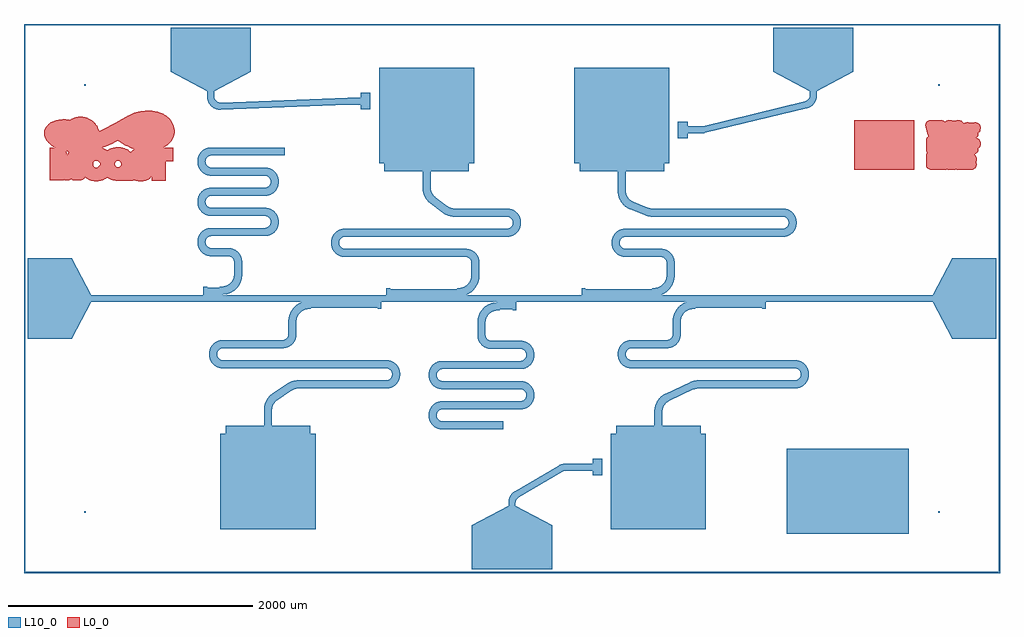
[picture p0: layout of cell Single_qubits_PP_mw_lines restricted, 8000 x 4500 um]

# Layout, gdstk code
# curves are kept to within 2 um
import gdstk
lib = gdstk.Library(unit=1e-6, precision=1e-09)
def R(c, l, rs):  # rectangles x0, y0, x1, y1
    for r in rs: c.add(gdstk.rectangle(r[:2], r[2:], *l))
def P(c, l, *ps):  # polygons
    for p in ps: c.add(gdstk.Polygon(p, *l))
L0_0 = (0, 0)
L10_0 = (10, 0)

single_qubits_pp_mw_line = lib.new_cell('Single_qubits_PP_mw_lines restricted')
P(single_qubits_pp_mw_line, L0_0, [(7296.49,3304.21),(7296.49,3712.95),(6804.87,3712.95),(6804.87,3508.594),(6969.874,3508.594),(6969.875,3508.574),(6969.876,3508.514),(6969.874,3508.594),(6804.87,3508.594),(6804.87,3304.21)],
  [(7393.974,3550.074),(7393.974,3466.113),(7405.074,3444.593),(7393.974,3423.073),(7393.554,3344.273),(7396.274,3329.973),(7410.934,3311.973),(7433.254,3304.693),(7519.374,3306.773),(7542.714,3304.093),(7566.174,3309.153),(7589.394,3304.433),(7627.894,3304.673),(7641.814,3308.213),(7658.274,3304.593),(7685.314,3305.724),(7685.314,3705.034),(7663.674,3711.814),(7644.114,3711.254),(7630.334,3705.614),(7611.494,3706.034),(7597.254,3711.394),(7572.134,3711.254),(7558.554,3705.494),(7547.014,3694.174),(7537.074,3705.034),(7518.834,3711.534),(7489.894,3709.574),(7427.294,3711.814),(7412.354,3708.454),(7395.134,3693.754),(7387.434,3669.234),(7400.061,3622.894),(7541.254,3622.954),(7400.061,3622.894),(7413.674,3578.794),(7401.374,3567.734)],
  [(7704.014,3303.973),(7740.254,3307.553),(7754.894,3304.593),(7776.174,3305.613),(7796.054,3316.713),(7804.454,3329.373),(7807.734,3344.213),(7804.394,3370.113),(7808.654,3386.073),(7808.094,3405.153),(7801.994,3419.073),(7790.034,3432.493),(7804.954,3438.673),(7817.214,3450.493),(7822.934,3464.913),(7823.494,3479.853),(7836.574,3494.013),(7843.034,3525.774),(7840.014,3539.094),(7827.914,3554.854),(7803.154,3565.114),(7819.754,3583.594),(7823.274,3593.274),(7823.274,3607.174),(7836.714,3622.394),(7842.814,3653.094),(7833.474,3676.854),(7810.834,3690.814),(7769.194,3692.254),(7756.254,3689.114),(7728.854,3693.054),(7704.274,3686.554),(7698.874,3689.014),(7685.314,3705.034),(7685.314,3560.914),(7712.594,3561.834),(7685.314,3560.914),(7685.314,3305.724)],
  [(323.875,3218.85),(323.875,3225.564),(340.536,3219.3),(359.656,3217.986),(372.632,3219.238),(389.734,3227.081),(399.483,3217.401),(460.335,3217.5),(480.295,3223.316),(491.984,3233.056),(497.732,3243.506),(532.057,3223.248),(566.864,3213.559),(566.864,3701.734),(524.383,3727.6),(491.557,3736.834),(452.254,3738.864),(417.249,3732.02),(378.759,3713.078),(362.609,3716.47),(318.499,3717.494),(263.377,3709.744),(235.221,3700.264),(206.469,3683.354),(186.201,3663.618),(171.644,3638.863),(165.575,3602.409),(169.069,3580.426),(177.641,3558.474),(189.267,3540.33),(210.633,3517.644),(254.511,3487.5),(211.275,3487.5),(211.275,3456.769),(344.86,3456.769),(366.858,3453.228),(356.484,3425.61),(344.86,3456.769),(211.275,3456.769),(211.275,3218.85)],
  [(638.909,3485.122),(696.081,3506.904),(744.235,3529.489),(744.235,3687.666),(616.602,3621.41),(598.525,3664.654),(566.864,3701.734),(566.864,3484.685)],
  [(567.977,3364.418),(572.618,3372.844),(580.171,3378.32),(601.206,3380.118),(625.826,3357.162),(625.871,3346.401),(606.414,3326.934),(594.438,3321.754),(575.458,3326.685),(566.864,3341.466),(566.864,3256.2),(744.235,3256.2),(744.235,3487.566),(707.792,3477.31),(680.439,3462.112),(661.461,3474.772),(637.515,3484.685),(566.864,3484.685)],
  [(595.277,3211.968),(639.16,3219.04),(659.423,3227.596),(679.888,3241.326),(713.197,3224.146),(744.235,3217.294),(744.235,3256.2),(566.864,3256.2),(566.864,3213.559)],
  [(770.662,3543.464),(778.382,3538.6),(802.263,3523.553),(802.263,3720.964),(744.235,3687.666),(744.235,3529.489),(751.273,3532.974)],
  [(789.844,3372.849),(795.812,3362.332),(796.676,3347.488),(791.763,3334.499),(782.949,3327.409),(768.25,3325.011),(755.256,3328.516),(747.45,3337.163),(744.235,3351.764),(744.235,3256.2),(802.263,3255.51),(744.235,3256.2),(744.235,3217.294),(802.263,3215.504),(802.263,3487.154),(772.148,3489.96),(744.235,3487.566),(744.235,3419.15),(764.575,3419.55),(744.235,3419.15),(744.235,3355.068),(748.631,3368.786),(759.902,3377.725),(776.105,3379.515)],
  [(964.303,3210.94),(988.898,3214.472),(1012.773,3223),(1034.553,3237.204),(1048.625,3252.128),(1048.625,3214.75),(1163.025,3214.75),(1163.025,3374.55),(1222.725,3374.55),(1222.725,3483.7),(1137.628,3483.7),(1166.683,3500.96),(1192.221,3522.66),(1209.323,3542.894),(1222.723,3566.001),(1231.333,3591.519),(1234.435,3619.242),(1231.461,3648.231),(1224.011,3674.076),(1202.844,3712.207),(1172.087,3742.632),(1128.525,3767.364),(1073.033,3784.184),(1017.027,3789.208),(973.144,3786.828),(937.167,3780.896),(869.426,3757.736),(802.263,3720.964),(802.263,3538.6),(1070.425,3538.6),(1083.525,3544.2),(1070.425,3538.6),(802.263,3538.6),(802.263,3523.553),(849.845,3495.936),(904.561,3473.581),(875.923,3448.67),(845.577,3471.37),(802.263,3487.154),(802.263,3374.3),(1048.625,3374.3),(1048.625,3366.58),(1041.399,3374.3),(802.263,3374.3),(802.263,3215.504),(884.541,3215.046),(909.275,3218.811),(935.189,3212.428)],
  [(7296.49,3304.21),(7296.49,3712.95),(6804.87,3712.95),(6804.87,3508.594),(6969.874,3508.594),(6969.875,3508.574),(6969.876,3508.514),(6969.874,3508.594),(6804.87,3508.594),(6804.87,3304.21)],
  [(7393.974,3550.074),(7393.974,3466.113),(7405.074,3444.593),(7393.974,3423.073),(7393.554,3344.273),(7396.274,3329.973),(7410.934,3311.973),(7433.254,3304.693),(7519.374,3306.773),(7542.714,3304.093),(7566.174,3309.153),(7589.394,3304.433),(7627.894,3304.673),(7641.814,3308.213),(7658.274,3304.593),(7685.314,3305.724),(7685.314,3705.034),(7663.674,3711.814),(7644.114,3711.254),(7630.334,3705.614),(7611.494,3706.034),(7597.254,3711.394),(7572.134,3711.254),(7558.554,3705.494),(7547.014,3694.174),(7537.074,3705.034),(7518.834,3711.534),(7489.894,3709.574),(7427.294,3711.814),(7412.354,3708.454),(7395.134,3693.754),(7387.434,3669.234),(7400.061,3622.894),(7541.254,3622.954),(7400.061,3622.894),(7413.674,3578.794),(7401.374,3567.734)],
  [(7704.014,3303.973),(7740.254,3307.553),(7754.894,3304.593),(7776.174,3305.613),(7796.054,3316.713),(7804.454,3329.373),(7807.734,3344.213),(7804.394,3370.113),(7808.654,3386.073),(7808.094,3405.153),(7801.994,3419.073),(7790.034,3432.493),(7804.954,3438.673),(7817.214,3450.493),(7822.934,3464.913),(7823.494,3479.853),(7836.574,3494.013),(7843.034,3525.774),(7840.014,3539.094),(7827.914,3554.854),(7803.154,3565.114),(7819.754,3583.594),(7823.274,3593.274),(7823.274,3607.174),(7836.714,3622.394),(7842.814,3653.094),(7833.474,3676.854),(7810.834,3690.814),(7769.194,3692.254),(7756.254,3689.114),(7728.854,3693.054),(7704.274,3686.554),(7698.874,3689.014),(7685.314,3705.034),(7685.314,3560.914),(7712.594,3561.834),(7685.314,3560.914),(7685.314,3305.724)],
  [(323.875,3218.85),(323.875,3225.564),(340.536,3219.3),(359.656,3217.986),(372.632,3219.238),(389.734,3227.081),(399.483,3217.401),(460.335,3217.5),(480.295,3223.316),(491.984,3233.056),(497.732,3243.506),(532.057,3223.248),(566.864,3213.559),(566.864,3701.734),(524.383,3727.6),(491.557,3736.834),(452.254,3738.864),(417.249,3732.02),(378.759,3713.078),(362.609,3716.47),(318.499,3717.494),(263.377,3709.744),(235.221,3700.264),(206.469,3683.354),(186.201,3663.618),(171.644,3638.863),(165.575,3602.409),(169.069,3580.426),(177.641,3558.474),(189.267,3540.33),(210.633,3517.644),(254.511,3487.5),(211.275,3487.5),(211.275,3456.769),(344.86,3456.769),(366.858,3453.228),(356.484,3425.61),(344.86,3456.769),(211.275,3456.769),(211.275,3218.85)],
  [(638.909,3485.122),(696.081,3506.904),(744.235,3529.489),(744.235,3687.666),(616.602,3621.41),(598.525,3664.654),(566.864,3701.734),(566.864,3484.685)],
  [(567.977,3364.418),(572.618,3372.844),(580.171,3378.32),(601.206,3380.118),(625.826,3357.162),(625.871,3346.401),(606.414,3326.934),(594.438,3321.754),(575.458,3326.685),(566.864,3341.466),(566.864,3256.2),(744.235,3256.2),(744.235,3487.566),(707.792,3477.31),(680.439,3462.112),(661.461,3474.772),(637.515,3484.685),(566.864,3484.685)],
  [(595.277,3211.968),(639.16,3219.04),(659.423,3227.596),(679.888,3241.326),(713.197,3224.146),(744.235,3217.294),(744.235,3256.2),(566.864,3256.2),(566.864,3213.559)],
  [(770.662,3543.464),(778.382,3538.6),(802.263,3523.553),(802.263,3720.964),(744.235,3687.666),(744.235,3529.489),(751.273,3532.974)],
  [(789.844,3372.849),(795.812,3362.332),(796.676,3347.488),(791.763,3334.499),(782.949,3327.409),(768.25,3325.011),(755.256,3328.516),(747.45,3337.163),(744.235,3351.764),(744.235,3256.2),(802.263,3255.51),(744.235,3256.2),(744.235,3217.294),(802.263,3215.504),(802.263,3487.154),(772.148,3489.96),(744.235,3487.566),(744.235,3419.15),(764.575,3419.55),(744.235,3419.15),(744.235,3355.068),(748.631,3368.786),(759.902,3377.725),(776.105,3379.515)],
  [(964.303,3210.94),(988.898,3214.472),(1012.773,3223),(1034.553,3237.204),(1048.625,3252.128),(1048.625,3214.75),(1163.025,3214.75),(1163.025,3374.55),(1222.725,3374.55),(1222.725,3483.7),(1137.628,3483.7),(1166.683,3500.96),(1192.221,3522.66),(1209.323,3542.894),(1222.723,3566.001),(1231.333,3591.519),(1234.435,3619.242),(1231.461,3648.231),(1224.011,3674.076),(1202.844,3712.207),(1172.087,3742.632),(1128.525,3767.364),(1073.033,3784.184),(1017.027,3789.208),(973.144,3786.828),(937.167,3780.896),(869.426,3757.736),(802.263,3720.964),(802.263,3538.6),(1070.425,3538.6),(1083.525,3544.2),(1070.425,3538.6),(802.263,3538.6),(802.263,3523.553),(849.845,3495.936),(904.561,3473.581),(875.923,3448.67),(845.577,3471.37),(802.263,3487.154),(802.263,3374.3),(1048.625,3374.3),(1048.625,3366.58),(1041.399,3374.3),(802.263,3374.3),(802.263,3215.504),(884.541,3215.046),(909.275,3218.811),(935.189,3212.428)],
  [(7296.49,3304.21),(7296.49,3712.95),(6804.87,3712.95),(6804.87,3508.594),(6969.874,3508.594),(6969.875,3508.574),(6969.876,3508.514),(6969.874,3508.594),(6804.87,3508.594),(6804.87,3304.21)],
  [(7393.974,3550.074),(7393.974,3466.113),(7405.074,3444.593),(7393.974,3423.073),(7393.554,3344.273),(7396.274,3329.973),(7410.934,3311.973),(7433.254,3304.693),(7519.374,3306.773),(7542.714,3304.093),(7566.174,3309.153),(7589.394,3304.433),(7627.894,3304.673),(7641.814,3308.213),(7658.274,3304.593),(7685.314,3305.724),(7685.314,3705.034),(7663.674,3711.814),(7644.114,3711.254),(7630.334,3705.614),(7611.494,3706.034),(7597.254,3711.394),(7572.134,3711.254),(7558.554,3705.494),(7547.014,3694.174),(7537.074,3705.034),(7518.834,3711.534),(7489.894,3709.574),(7427.294,3711.814),(7412.354,3708.454),(7395.134,3693.754),(7387.434,3669.234),(7400.061,3622.894),(7541.254,3622.954),(7400.061,3622.894),(7413.674,3578.794),(7401.374,3567.734)],
  [(7704.014,3303.973),(7740.254,3307.553),(7754.894,3304.593),(7776.174,3305.613),(7796.054,3316.713),(7804.454,3329.373),(7807.734,3344.213),(7804.394,3370.113),(7808.654,3386.073),(7808.094,3405.153),(7801.994,3419.073),(7790.034,3432.493),(7804.954,3438.673),(7817.214,3450.493),(7822.934,3464.913),(7823.494,3479.853),(7836.574,3494.013),(7843.034,3525.774),(7840.014,3539.094),(7827.914,3554.854),(7803.154,3565.114),(7819.754,3583.594),(7823.274,3593.274),(7823.274,3607.174),(7836.714,3622.394),(7842.814,3653.094),(7833.474,3676.854),(7810.834,3690.814),(7769.194,3692.254),(7756.254,3689.114),(7728.854,3693.054),(7704.274,3686.554),(7698.874,3689.014),(7685.314,3705.034),(7685.314,3560.914),(7712.594,3561.834),(7685.314,3560.914),(7685.314,3305.724)],
  [(323.875,3218.85),(323.875,3225.564),(340.536,3219.3),(359.656,3217.986),(372.632,3219.238),(389.734,3227.081),(399.483,3217.401),(460.335,3217.5),(480.295,3223.316),(491.984,3233.056),(497.732,3243.506),(532.057,3223.248),(566.864,3213.559),(566.864,3701.734),(524.383,3727.6),(491.557,3736.834),(452.254,3738.864),(417.249,3732.02),(378.759,3713.078),(362.609,3716.47),(318.499,3717.494),(263.377,3709.744),(235.221,3700.264),(206.469,3683.354),(186.201,3663.618),(171.644,3638.863),(165.575,3602.409),(169.069,3580.426),(177.641,3558.474),(189.267,3540.33),(210.633,3517.644),(254.511,3487.5),(211.275,3487.5),(211.275,3456.769),(344.86,3456.769),(366.858,3453.228),(356.484,3425.61),(344.86,3456.769),(211.275,3456.769),(211.275,3218.85)],
  [(638.909,3485.122),(696.081,3506.904),(744.235,3529.489),(744.235,3687.666),(616.602,3621.41),(598.525,3664.654),(566.864,3701.734),(566.864,3484.685)],
  [(567.977,3364.418),(572.618,3372.844),(580.171,3378.32),(601.206,3380.118),(625.826,3357.162),(625.871,3346.401),(606.414,3326.934),(594.438,3321.754),(575.458,3326.685),(566.864,3341.466),(566.864,3256.2),(744.235,3256.2),(744.235,3487.566),(707.792,3477.31),(680.439,3462.112),(661.461,3474.772),(637.515,3484.685),(566.864,3484.685)],
  [(595.277,3211.968),(639.16,3219.04),(659.423,3227.596),(679.888,3241.326),(713.197,3224.146),(744.235,3217.294),(744.235,3256.2),(566.864,3256.2),(566.864,3213.559)],
  [(770.662,3543.464),(778.382,3538.6),(802.263,3523.553),(802.263,3720.964),(744.235,3687.666),(744.235,3529.489),(751.273,3532.974)],
  [(789.844,3372.849),(795.812,3362.332),(796.676,3347.488),(791.763,3334.499),(782.949,3327.409),(768.25,3325.011),(755.256,3328.516),(747.45,3337.163),(744.235,3351.764),(744.235,3256.2),(802.263,3255.51),(744.235,3256.2),(744.235,3217.294),(802.263,3215.504),(802.263,3487.154),(772.148,3489.96),(744.235,3487.566),(744.235,3419.15),(764.575,3419.55),(744.235,3419.15),(744.235,3355.068),(748.631,3368.786),(759.902,3377.725),(776.105,3379.515)],
  [(964.303,3210.94),(988.898,3214.472),(1012.773,3223),(1034.553,3237.204),(1048.625,3252.128),(1048.625,3214.75),(1163.025,3214.75),(1163.025,3374.55),(1222.725,3374.55),(1222.725,3483.7),(1137.628,3483.7),(1166.683,3500.96),(1192.221,3522.66),(1209.323,3542.894),(1222.723,3566.001),(1231.333,3591.519),(1234.435,3619.242),(1231.461,3648.231),(1224.011,3674.076),(1202.844,3712.207),(1172.087,3742.632),(1128.525,3767.364),(1073.033,3784.184),(1017.027,3789.208),(973.144,3786.828),(937.167,3780.896),(869.426,3757.736),(802.263,3720.964),(802.263,3538.6),(1070.425,3538.6),(1083.525,3544.2),(1070.425,3538.6),(802.263,3538.6),(802.263,3523.553),(849.845,3495.936),(904.561,3473.581),(875.923,3448.67),(845.577,3471.37),(802.263,3487.154),(802.263,3374.3),(1048.625,3374.3),(1048.625,3366.58),(1041.399,3374.3),(802.263,3374.3),(802.263,3215.504),(884.541,3215.046),(909.275,3218.811),(935.189,3212.428)])
R(single_qubits_pp_mw_line, L10_0, [(6250,320,6750,1020), (6250,320,6750,1020), (6250,320,6750,1020), (6750,320,7250,1020), (6750,320,7250,1020), (6750,320,7250,1020), (495,495,505,505), (495,495,505,505), (7495,495,7505,505), (7495,495,7505,505), (4660,800,4740,935), (4660,800,4740,935), (4660,800,4740,935), (3899.027,1177.5,3929.027,1242.5), (3717.5,1970,3782.5,2020), (2167.5,1976,2232.5,2026), (5317.5,1976,5382.5,2026), (4005,2152.5,4035,2217.5), (3900,2161.5,4005,2278.5), (2900,2164.5,2930,2229.5), (6050,2164.5,6080,2229.5), (2350,2173.5,2900,2278.5), (5500,2173.5,6050,2278.5), (550,2221.5,7450,2278.5), (1500,2221.5,1605,2338.5), (3000,2221.5,3550,2326.5), (4600,2221.5,5150,2326.5), (2970,2270.5,3000,2335.5), (4570,2270.5,4600,2335.5), (1470,2282.5,1500,2347.5), (3667.5,2474,3732.5,2524), (5267.5,2474,5332.5,2524), (1722.5,2480,1787.5,2530), (3538.319,2921.5,3663.661,2986.5), (5158.319,2921.5,5263.661,2986.5), (2108,3422.5,2138,3487.5), (5360,3565,5440,3700), (5360,3565,5440,3700), (5360,3565,5440,3700), (2760,3800,2840,3935), (2760,3800,2840,3935), (2760,3800,2840,3935), (495,3995,505,4005), (495,3995,505,4005), (7495,3995,7505,4005), (7495,3995,7505,4005)])
P(single_qubits_pp_mw_line, L10_0, [(8000,0),(8000,4500),(0,4500),(0,10),(10,10),(10,4490),(7990,4490),(7990,10),(10,10),(0,10),(0,0)],
  [(550,2221.5),(550,2278.5),(390,2578),(32,2578),(32,1922),(390,1922)],
  [(7450,2278.5),(7450,2221.5),(7610,1922),(7968,1922),(7968,2578),(7610,2578)],
  [(1501.5,3950),(1558.5,3950),(1858,4110),(1858,4468),(1202,4468),(1202,4110)],
  [(6441.5,3950),(6498.5,3950),(6798,4110),(6798,4468),(6142,4468),(6142,4110)],
  [(4028.5,550),(3971.5,550),(3672,390),(3672,32),(4328,32),(4328,390)],
  [(2910,4140),(2910,3360),(2954,3360),(2954,3294),(3646,3294),(3646,3360),(3690,3360),(3690,4140)],
  [(4554,3360),(4554,3294),(5246,3294),(5246,3360),(5290,3360),(5290,4140),(4510,4140),(4510,3360)],
  [(2390,360),(2390,1140),(2346,1140),(2346,1206),(1654,1206),(1654,1140),(1610,1140),(1610,360)],
  [(5546,1140),(5546,1206),(4854,1206),(4854,1140),(4810,1140),(4810,360),(5590,360),(5590,1140)],
  [(8000,0),(8000,4500),(0,4500),(0,10),(10,10),(10,4490),(7990,4490),(7990,10),(10,10),(0,10),(0,0)],
  [(550,2221.5),(550,2278.5),(390,2578),(32,2578),(32,1922),(390,1922)],
  [(7450,2278.5),(7450,2221.5),(7610,1922),(7968,1922),(7968,2578),(7610,2578)],
  [(1501.5,3950),(1558.5,3950),(1858,4110),(1858,4468),(1202,4468),(1202,4110)],
  [(6441.5,3950),(6498.5,3950),(6798,4110),(6798,4468),(6142,4468),(6142,4110)],
  [(4028.5,550),(3971.5,550),(3672,390),(3672,32),(4328,32),(4328,390)],
  [(2910,4140),(2910,3360),(2954,3360),(2954,3294),(3646,3294),(3646,3360),(3690,3360),(3690,4140)],
  [(4554,3360),(4554,3294),(5246,3294),(5246,3360),(5290,3360),(5290,4140),(4510,4140),(4510,3360)],
  [(2390,360),(2390,1140),(2346,1140),(2346,1206),(1654,1206),(1654,1140),(1610,1140),(1610,360)],
  [(5546,1140),(5546,1206),(4854,1206),(4854,1140),(4810,1140),(4810,360),(5590,360),(5590,1140)],
  [(8000,0),(8000,4500),(0,4500),(0,10),(10,10),(10,4490),(7990,4490),(7990,10),(10,10),(0,10),(0,0)],
  [(550,2221.5),(550,2278.5),(390,2578),(32,2578),(32,1922),(390,1922)],
  [(7450,2278.5),(7450,2221.5),(7610,1922),(7968,1922),(7968,2578),(7610,2578)],
  [(1501.5,3950),(1558.5,3950),(1858,4110),(1858,4468),(1202,4468),(1202,4110)],
  [(6441.5,3950),(6498.5,3950),(6798,4110),(6798,4468),(6142,4468),(6142,4110)],
  [(4028.5,550),(3971.5,550),(3672,390),(3672,32),(4328,32),(4328,390)],
  [(2910,4140),(2910,3360),(2954,3360),(2954,3294),(3646,3294),(3646,3360),(3690,3360),(3690,4140)],
  [(4554,3360),(4554,3294),(5246,3294),(5246,3360),(5290,3360),(5290,4140),(4510,4140),(4510,3360)],
  [(2390,360),(2390,1140),(2346,1140),(2346,1206),(1654,1206),(1654,1140),(1610,1140),(1610,360)],
  [(5546,1140),(5546,1206),(4854,1206),(4854,1140),(4810,1140),(4810,360),(5590,360),(5590,1140)],
  [(3550,2335.5),(3550,2270.5),(3583.113,2271.32),(3611.972,2276.906),(3639.351,2287.599),(3664.357,2303.049),(3696.642,2335.302),(3720.724,2377.334),(3731.314,2418.461),(3732.5,2474),(3667.5,2474),(3664.659,2414.712),(3656.306,2392.714),(3641.02,2369.788),(3623.747,2353.869),(3601.341,2341.829),(3578.533,2336.212)],
  [(2595.254,2671.616),(2585.805,2686.598),(2582.5,2704.19),(2585.038,2724.312),(2595.254,2741.384),(2595.254,2815.994),(2563.447,2799.705),(2539.295,2775.553),(2523.504,2745.267),(2517.5,2709.19),(2521.218,2675.307),(2533.461,2646.233),(2553.295,2621.701),(2581.527,2602.476),(2595.254,2597.006)],
  [(2596.81,2742.977),(2611.567,2752.775),(2628.887,2756.485),(3663.661,2756.5),(3663.661,2821.5),(2622.094,2821.224),(2595.254,2815.994)],
  [(3663.661,2647.684),(3643.562,2654.007),(3620.19,2656.5),(2628.887,2656.515),(2610.545,2660.669),(2595.254,2671.616),(2595.254,2597.006),(2629.81,2591.5),(3621.113,2591.485),(3646.272,2583.57),(3663.661,2562.695)],
  [(3995.496,2980.748),(3962.637,2986.471),(3663.661,2986.5),(3663.661,2921.5),(3962.226,2921.446),(3980.465,2916.863),(3995.496,2905.561)],
  [(3960.19,2756.5),(3995.496,2762.252),(3995.496,2837.439),(3980.465,2826.137),(3962.226,2821.554),(3663.661,2821.5),(3663.661,2756.5)],
  [(3732.5,2544.19),(3727.317,2577.76),(3713.725,2606.228),(3690.732,2631.486),(3663.661,2647.684),(3663.661,2562.695),(3667.289,2548.448),(3667.5,2524),(3732.5,2524)],
  [(3996.267,2762.504),(4028.661,2779.88),(4052.24,2804.591),(4068.079,2837.765),(4072.5,2874.19),(4066.496,2910.267),(4050.705,2940.553),(4026.553,2964.705),(3995.496,2980.748),(3995.496,2905.561),(4004.591,2890.361),(4007.5,2873.81),(4004.962,2853.688),(3995.496,2837.439)],
  [(3538.319,2921.5),(3538.319,2986.5),(3505.445,2989.358),(3476.571,3001.717),(3368.146,3083.343),(3344.532,3111.793),(3336.329,3131.659),(3332.679,3152.839),(3332.5,3294),(3267.5,3294),(3269.101,3135.942),(3279.183,3098.203),(3297.98,3063.959),(3326.907,3033.096),(3447.318,2943.445),(3489.826,2926.259)],
  [(5150,2335.5),(5150,2270.5),(5183.113,2271.32),(5211.972,2276.906),(5239.351,2287.599),(5264.357,2303.049),(5296.642,2335.302),(5320.724,2377.334),(5331.314,2418.461),(5332.5,2474),(5267.5,2474),(5264.659,2414.712),(5256.306,2392.714),(5241.02,2369.788),(5223.747,2353.869),(5201.341,2341.829),(5178.533,2336.212)],
  [(4895.254,2671.616),(4885.805,2686.598),(4882.5,2704.19),(4885.038,2724.312),(4895.254,2741.384),(4895.254,2815.994),(4863.447,2799.705),(4839.295,2775.553),(4823.504,2745.267),(4817.5,2709.19),(4821.218,2675.307),(4833.461,2646.233),(4853.295,2621.701),(4881.527,2602.476),(4895.254,2597.006)],
  [(4896.81,2742.977),(4910.545,2752.331),(4927.774,2756.446),(5263.661,2756.5),(5263.661,2821.5),(4929.81,2821.5),(4906.438,2819.007),(4895.254,2815.994)],
  [(5263.661,2647.684),(5222.637,2656.471),(4926.662,2656.62),(4909.535,2661.137),(4895.254,2671.616),(4895.254,2597.006),(4927.363,2591.529),(5224.448,2591.289),(5248.098,2582.295),(5263.661,2562.695)],
  [(6255.496,2980.748),(6220.19,2986.5),(5263.661,2986.5),(5263.661,2921.5),(6221.113,2921.485),(6239.455,2917.331),(6255.496,2905.561)],
  [(6220.19,2756.5),(6255.496,2762.252),(6255.496,2837.439),(6239.455,2825.669),(6221.113,2821.515),(5263.661,2821.5),(5263.661,2756.5)],
  [(5332.5,2544.19),(5327.317,2577.76),(5313.725,2606.228),(5290.732,2631.486),(5263.661,2647.684),(5263.661,2562.695),(5267.289,2548.448),(5267.5,2524),(5332.5,2524)],
  [(6256.267,2762.504),(6288.661,2779.88),(6312.24,2804.591),(6328.079,2837.765),(6332.5,2874.19),(6326.496,2910.267),(6310.705,2940.553),(6286.553,2964.705),(6255.496,2980.748),(6255.496,2905.561),(6264.591,2890.361),(6267.5,2873.81),(6264.962,2853.688),(6255.496,2837.439)],
  [(5158.319,2921.5),(5158.319,2986.5),(5119.653,2991.451),(4992.015,3042.267),(4970.024,3055.192),(4953.339,3071.82),(4939.583,3095.583),(4932.998,3122.239),(4932.5,3294),(4867.5,3294),(4869.117,3109.179),(4880.558,3068.233),(4902.228,3031.656),(4932.644,3001.951),(4966.689,2982.399),(5102.3,2928.757),(5130.87,2922.667)],
  [(2350,2164.5),(2350,2229.5),(2316.887,2228.68),(2288.028,2223.094),(2260.649,2212.401),(2235.643,2196.951),(2203.358,2164.698),(2179.276,2122.666),(2168.686,2081.539),(2167.5,2026),(2232.5,2026),(2235.341,2085.288),(2243.694,2107.286),(2258.98,2130.212),(2276.253,2146.131),(2298.659,2158.171),(2321.467,2163.788)],
  [(1595.254,1758.616),(1585.805,1773.598),(1582.5,1791.19),(1585.038,1811.312),(1595.254,1828.384),(1595.254,1902.994),(1563.447,1886.705),(1539.295,1862.553),(1523.504,1832.267),(1517.5,1796.19),(1521.218,1762.307),(1533.461,1733.233),(1553.295,1708.701),(1581.527,1689.476),(1595.254,1684.006)],
  [(1596.023,1829.19),(1610.545,1839.331),(1628.887,1843.485),(2140.977,1845.471),(2164.962,1852.882),(2164.962,1940.688),(2158.943,1928.807),(2148.988,1918.374),(2136.361,1911.409),(2123.338,1908.62),(1609.023,1906.529),(1595.254,1902.994)],
  [(2164.962,1743.5),(1628.887,1743.515),(1610.545,1747.669),(1595.254,1758.616),(1595.254,1684.006),(1629.81,1678.5),(2164.962,1678.5)],
  [(2166.08,1853.368),(2196.705,1873.701),(2219.14,1902.821),(2230.529,1935.023),(2232.5,1976),(2167.5,1976),(2164.962,1940.688)],
  [(3005.496,1737.748),(2970.19,1743.5),(2164.962,1743.5),(2164.962,1678.5),(2971.113,1678.485),(2989.455,1674.331),(3005.496,1662.561)],
  [(2972.637,1513.529),(3005.496,1519.252),(3005.496,1594.439),(2989.455,1582.669),(2971.113,1578.515),(2258.319,1578.5),(2258.319,1513.5)],
  [(3006.267,1519.504),(3038.661,1536.88),(3062.24,1561.591),(3078.079,1594.765),(3082.5,1631.19),(3076.496,1667.267),(3060.705,1697.553),(3036.553,1721.705),(3005.496,1737.748),(3005.496,1662.561),(3014.591,1647.361),(3017.5,1630.81),(3014.962,1610.688),(3005.496,1594.439)],
  [(2258.319,1513.5),(2258.319,1578.5),(2231.896,1577.66),(2205.898,1572.842),(2160.703,1552.799),(2036.787,1469.743),(2011.728,1448.072),(1985.099,1410.19),(1970.236,1366.335),(1967.532,1339.952),(1967.5,1206),(2032.5,1206),(2033.496,1350.525),(2042.179,1378.981),(2059.039,1403.495),(2074.074,1416.497),(2200.897,1501.137),(2228.696,1511.484)],
  [(5500,2164.5),(5500,2229.5),(5466.887,2228.68),(5438.028,2223.094),(5410.649,2212.401),(5385.643,2196.951),(5353.358,2164.698),(5329.276,2122.666),(5318.686,2081.539),(5317.5,2026),(5382.5,2026),(5385.341,2085.288),(5393.694,2107.286),(5408.98,2130.212),(5426.253,2146.131),(5448.659,2158.171),(5471.467,2163.788)],
  [(4945.254,1758.616),(4935.805,1773.598),(4932.5,1791.19),(4935.038,1811.312),(4945.254,1828.384),(4945.254,1902.994),(4913.447,1886.705),(4889.295,1862.553),(4873.504,1832.267),(4867.5,1796.19),(4871.218,1762.307),(4883.461,1733.233),(4903.295,1708.701),(4931.527,1689.476),(4945.254,1684.006)],
  [(4946.023,1829.19),(4960.545,1839.331),(4977.774,1843.446),(5272.637,1843.529),(5303.76,1848.683),(5314.962,1852.882),(5314.962,1940.688),(5308.943,1928.807),(5298.988,1918.374),(5274.448,1908.711),(4977.363,1908.471),(4946.24,1903.317)],
  [(5314.962,1743.5),(4977.774,1743.554),(4960.545,1747.669),(4945.254,1758.616),(4945.254,1684.006),(4977.363,1678.529),(5314.962,1678.5)],
  [(5316.08,1853.368),(5346.705,1873.701),(5369.14,1902.821),(5380.529,1935.023),(5382.5,1976),(5317.5,1976),(5314.962,1940.688)],
  [(6355.496,1737.748),(6320.19,1743.5),(5314.962,1743.5),(5314.962,1678.5),(6321.113,1678.485),(6339.455,1674.331),(6355.496,1662.561)],
  [(6322.637,1513.529),(6355.496,1519.252),(6355.496,1594.439),(6339.455,1582.669),(6321.113,1578.515),(5538.319,1578.5),(5538.319,1513.5)],
  [(6356.267,1519.504),(6388.661,1536.88),(6412.24,1561.591),(6428.079,1594.765),(6432.5,1631.19),(6426.496,1667.267),(6410.705,1697.553),(6386.553,1721.705),(6355.496,1737.748),(6355.496,1662.561),(6364.591,1647.361),(6367.5,1630.81),(6364.962,1610.688),(6355.496,1594.439)],
  [(5538.319,1513.5),(5538.319,1578.5),(5496.364,1575.304),(5462.581,1564.556),(5261.05,1470.405),(5225.271,1447.511),(5206.607,1428.999),(5191.172,1407.72),(5172.269,1362.346),(5167.631,1329.836),(5167.5,1206),(5232.5,1206),(5234.115,1340.923),(5245.697,1372.237),(5267.164,1397.808),(5286.941,1410.733),(5490.706,1505.899),(5513.009,1512.269)],
  [(1605,2347.5),(1605,2282.5),(1637.438,2283.031),(1666.564,2288.092),(1694.292,2298.347),(1719.702,2313.455),(1752.678,2345.378),(1775.93,2385.767),(1786.335,2426.554),(1787.5,2480),(1722.5,2480),(1719.709,2422.835),(1711.5,2401.005),(1697.553,2380.664),(1678.297,2363.823),(1657.187,2353.217),(1634.145,2348.001)],
  [(1787.5,2550.19),(1781.496,2586.267),(1765.705,2616.553),(1739.409,2642.24),(1708.76,2657.317),(1677.637,2662.471),(1433.019,2662.515),(1445.88,2641.339),(1462.237,2624.196),(1484.16,2609.64),(1506.307,2601.218),(1532.363,2597.529),(1677.226,2597.446),(1694.455,2593.331),(1708.19,2583.977),(1718.331,2569.455),(1722.289,2554.448),(1722.5,2530),(1787.5,2530)],
  [(1532.774,2662.554),(1515.545,2666.669),(1501.81,2676.023),(1491.669,2690.545),(1487.62,2706.662),(1488.802,2726.034),(1496.057,2742.193),(1508.728,2754.57),(1525.052,2761.444),(1977.637,2762.529),(2008.76,2767.683),(1435.601,2767.683),(1426.218,2743.693),(1422.529,2717.637),(1424.471,2689.023),(1433.019,2662.515)],
  [(2011.267,2768.504),(2039.409,2782.76),(2064.12,2806.339),(2080.617,2836.247),(2087.224,2867.094),(2086.73,2893.158),(2020.638,2893.158),(2022.289,2870.552),(2016.319,2851.573),(2003.098,2836.705),(1984.948,2828.556),(1521.842,2826.73),(1496.247,2820.617),(1470.591,2807.24),(1450.926,2789.755),(1435.601,2767.683)],
  [(2086.391,2895.773),(2075.36,2930.84),(2055.478,2958.613),(2025.84,2980.36),(1993.38,2990.991),(1535.19,2992.5),(1515.545,2996.669),(1431.182,2996.669),(1444.295,2973.447),(1464.268,2952.514),(1488.92,2937.368),(1516.62,2929.009),(1977.226,2927.446),(1991.361,2924.591),(2004.862,2916.936),(2014.57,2906.272),(2020.638,2893.158),(2086.73,2893.158)],
  [(1514.535,2997.137),(1501.81,3006.023),(1492.629,3018.536),(1487.971,3033.341),(1487.828,3050.555),(1491.669,3064.455),(1499.504,3076.561),(1511.573,3086.319),(1525.052,3091.444),(1980.273,3092.621),(2011.267,3098.504),(2037.636,3111.553),(1444.295,3111.553),(1430.321,3086.219),(1423.27,3058.158),(1423.27,3026.842),(1431.182,2996.669)],
  [(2039.409,3112.76),(2064.12,3136.339),(2080.617,3166.247),(2087.224,3197.094),(2085.007,3233.562),(2084.158,3237.193),(2013.943,3237.193),(2022.172,3215.555),(2019.591,3188.639),(2006.561,3169.504),(1984.948,3158.556),(1524.465,3157.008),(1501.24,3152.317),(1479.512,3142.866),(1460.245,3129.074),(1444.295,3111.553)],
  [(2083.782,3238.693),(2071.539,3267.767),(2049.755,3294.074),(2023.473,3311.524),(1990.773,3321.391),(1533.887,3322.515),(1516.567,3326.225),(1501.593,3336.24),(1427.683,3336.24),(1441.275,3307.772),(1462.237,3284.196),(1488.92,3267.368),(1519.227,3258.609),(1977.226,3257.446),(1998.427,3251.319),(2013.943,3237.193)],
  [(1501.023,3336.81),(1488.802,3358.966),(1489.073,3387.114),(1501.81,3408.977),(1523.966,3421.198),(2108,3422.5),(2108,3487.5),(1534.81,3487.5),(1508.865,3484.424),(1474.986,3470.158),(1447.514,3445.732),(1429.383,3413.753),(1422.621,3380.273),(1423.27,3356.842),(1427.683,3336.24)],
  [(3900,2152.5),(3900,2217.5),(3867.562,2216.969),(3838.436,2211.908),(3810.708,2201.653),(3785.298,2186.545),(3752.322,2154.622),(3729.07,2114.233),(3718.665,2073.446),(3717.5,2020),(3782.5,2020),(3785.291,2077.165),(3793.5,2098.995),(3807.447,2119.336),(3826.703,2136.177),(3847.813,2146.783),(3870.855,2151.999)],
  [(3372.233,1721.539),(3349.522,1703.613),(3332.134,1680.488),(3321.218,1653.693),(3317.5,1625.19),(3320.576,1593.865),(3330.86,1566.821),(3347.701,1543.295),(3372.233,1523.461)],
  [(3372.233,1391.539),(3349.522,1373.613),(3332.134,1350.488),(3321.218,1323.693),(3317.5,1295.19),(3320.576,1263.865),(3330.86,1236.821),(3347.701,1213.295),(3372.233,1193.461)],
  [(3396.023,1586.81),(3385.805,1602.598),(3382.5,1620.19),(3385.409,1641.361),(3396.023,1658.19),(3396.023,1732.246),(3372.233,1721.539),(3372.233,1523.461),(3396.023,1512.754)],
  [(3396.023,1256.81),(3385.805,1272.598),(3382.5,1290.19),(3385.409,1311.361),(3396.023,1328.19),(3396.023,1402.246),(3372.233,1391.539),(3372.233,1193.461),(3396.023,1182.754)],
  [(3396.81,1658.977),(3410.545,1668.331),(3427.363,1672.422),(3427.363,1737.471),(3396.023,1732.246)],
  [(3427.363,1572.578),(3410.545,1576.669),(3396.023,1586.81),(3396.023,1512.754),(3427.363,1507.529)],
  [(3396.81,1328.977),(3410.545,1338.331),(3427.363,1342.422),(3427.363,1407.471),(3396.023,1402.246)],
  [(3427.363,1242.578),(3410.545,1246.669),(3396.023,1256.81),(3396.023,1182.754),(3427.363,1177.529)],
  [(4072.637,1902.471),(3821.144,1903.335),(3802.807,1911.057),(3788.681,1926.573),(3782.971,1943.341),(3782.5,1970),(3717.5,1970),(3720.576,1923.865),(3737.76,1885.591),(3753.295,1867.701),(3769.986,1854.842),(3809.023,1839.471),(4072.637,1837.422)],
  [(3427.774,1672.446),(3428.887,1672.485),(3430.19,1672.5),(4070.19,1672.5),(4072.637,1672.529),(4072.637,1737.578),(4072.226,1737.554),(4071.113,1737.515),(4069.81,1737.5),(3429.81,1737.5),(3427.363,1737.471),(3427.363,1672.422)],
  [(4072.637,1572.471),(4070.19,1572.5),(3430.19,1572.5),(3428.887,1572.515),(3427.774,1572.554),(3427.363,1572.578),(3427.363,1507.529),(3429.81,1507.5),(4069.81,1507.5),(4071.113,1507.485),(4072.226,1507.446),(4072.637,1507.422)],
  [(3427.774,1342.446),(3428.887,1342.485),(3430.19,1342.5),(4070.19,1342.5),(4072.637,1342.529),(4072.637,1407.578),(4072.226,1407.554),(4071.113,1407.515),(4069.81,1407.5),(3429.81,1407.5),(3427.363,1407.471),(3427.363,1342.422)],
  [(3899.027,1242.5),(3430.19,1242.5),(3428.887,1242.515),(3427.774,1242.554),(3427.363,1242.578),(3427.363,1177.529),(3429.81,1177.5),(3899.027,1177.5)],
  [(4103.977,1897.246),(4072.637,1902.471),(4072.637,1837.422),(4089.455,1833.331),(4103.977,1823.19)],
  [(4075.273,1672.621),(4103.977,1677.754),(4103.977,1751.81),(4089.455,1741.669),(4072.637,1737.578),(4072.637,1672.529)],
  [(4103.977,1567.246),(4072.637,1572.471),(4072.637,1507.422),(4089.455,1503.331),(4103.977,1493.19)],
  [(4075.273,1342.621),(4103.977,1347.754),(4103.977,1421.81),(4089.455,1411.669),(4072.637,1407.578),(4072.637,1342.529)],
  [(4106.267,1678.504),(4130.014,1689.842),(4130.014,1885.158),(4103.977,1897.246),(4103.977,1823.19),(4114.195,1807.402),(4117.5,1789.81),(4114.591,1768.639),(4103.977,1751.81),(4103.977,1677.754)],
  [(4106.267,1348.504),(4130.014,1359.842),(4130.014,1555.158),(4103.977,1567.246),(4103.977,1493.19),(4114.195,1477.402),(4117.5,1459.81),(4114.591,1438.639),(4103.977,1421.81),(4103.977,1347.754)],
  [(4132.228,1691.275),(4154.074,1710.245),(4170.36,1734.16),(4180.007,1761.438),(4182.5,1790.19),(4178.782,1818.693),(4167.866,1845.488),(4152.299,1866.705),(4130.014,1885.158),(4130.014,1689.842)],
  [(4132.228,1361.275),(4154.074,1380.245),(4170.36,1404.16),(4180.007,1431.438),(4182.5,1460.19),(4178.782,1488.693),(4167.866,1515.488),(4152.299,1536.705),(4130.014,1555.158),(4130.014,1359.842)],
  [(2760,3835),(2660,3839),(2660,3896),(2760,3900)],
  [(1558.5,3950),(1501.5,3950),(1501.623,3900.677),(1505.269,3877.533),(1519.061,3846.707),(1539.657,3823.281),(1568.463,3805.655),(1598.695,3797.98),(2660,3839),(2660,3896),(1604.635,3854.674),(1580.532,3863.658),(1563.781,3883.179),(1558.636,3902.181)],
  [(5440,3665),(5540,3661),(5540,3604),(5440,3600)],
  [(6498.5,3950),(6441.5,3950),(6441.362,3911.216),(6437.186,3894.33),(6424.045,3876.319),(6404.524,3865.55),(5565.618,3662.484),(5540,3661),(5540,3604),(5578.695,3607.004),(6428.084,3813.359),(6461.731,3833.549),(6485.996,3864.386),(6497.356,3899.231)],
  [(4660,835),(4460,839),(4460,896),(4660,900)],
  [(3971.5,550),(4028.5,550),(4031.02,592.076),(4039.072,607.425),(4051.761,619.234),(4415.01,833.09),(4432.748,838.622),(4460,839),(4460,896),(4420.679,894.451),(4388.499,883.554),(4018.327,665.439),(3995.384,644.087),(3979.501,617.068),(3972.288,589.242)])

lib.write_gds('Single_qubits_PP_mw_lines_restricted.gds')
